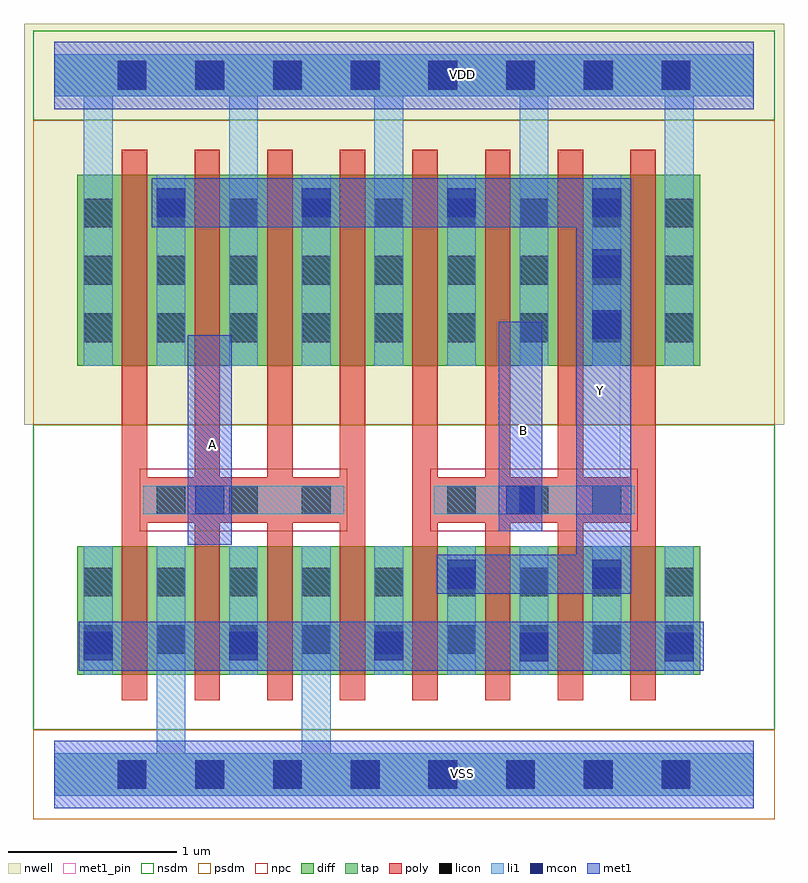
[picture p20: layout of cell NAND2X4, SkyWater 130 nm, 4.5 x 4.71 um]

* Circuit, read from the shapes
.subckt NAND2X4 A B VDD VSS Y
XM1 VSS A n1 VSS sky130_fd_pr__nfet_01v8 w=0.76 l=0.15 m=4
XM2 Y B n1 VSS sky130_fd_pr__nfet_01v8 w=0.76 l=0.15 m=4
XM3 Y A VDD VDD sky130_fd_pr__pfet_01v8 w=1.13 l=0.15 m=4
XM4 Y B VDD VDD sky130_fd_pr__pfet_01v8 w=1.13 l=0.15 m=4
.ends

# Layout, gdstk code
from math import pi, radians
import gdstk
lib = gdstk.Library(unit=1e-6, precision=1e-09)
def R(c, l, rs):  # rectangles x0, y0, x1, y1
    for r in rs: c.add(gdstk.rectangle(r[:2], r[2:], *l))
def A(c, l, x, y, w, h, nx, ny, dx, dy):  # array of equal rectangles
    R(c, l, [(x+i*dx, y+j*dy, x+i*dx+w, y+j*dy+h) for i in range(nx) for j in range(ny)])
nwell = (64, 20)
diff = (65, 20)
tap = (65, 44)
poly = (66, 20)
licon = (66, 44)
li1 = (67, 20)
mcon = (67, 44)
met1_pin = (68, 16)
met1 = (68, 20)
nsdm = (93, 44)
psdm = (94, 20)
npc = (95, 20)

pyl1con_c_cdns_750710154 = lib.new_cell('PYL1CON_C_CDNS_750710154092')
R(pyl1con_c_cdns_750710154, poly, [(-0.135,-0.165,0.135,0.165)])
R(pyl1con_c_cdns_750710154, licon, [(-0.085,-0.085,0.085,0.085)])
R(pyl1con_c_cdns_750710154, npc, [(-0.185,-0.185,0.185,0.185)])

l1m1_c_cdns_750710154090 = lib.new_cell('L1M1_C_CDNS_750710154090')
R(l1m1_c_cdns_750710154090, li1, [(-0.165,-0.085,0.165,0.085)])
R(l1m1_c_cdns_750710154090, mcon, [(-0.085,-0.085,0.085,0.085)])
R(l1m1_c_cdns_750710154090, met1, [(-0.115,-0.145,0.115,0.145)])

l1m1_c_cdns_750710154093 = lib.new_cell('L1M1_C_CDNS_750710154093')
R(l1m1_c_cdns_750710154093, li1, [(-0.085,-0.165,0.085,0.165)])
R(l1m1_c_cdns_750710154093, mcon, [(-0.085,-0.085,0.085,0.085)])
R(l1m1_c_cdns_750710154093, met1, [(-0.145,-0.115,0.145,0.115)])

l1m1_c_cdns_750710154098 = lib.new_cell('L1M1_C_CDNS_750710154098')
R(l1m1_c_cdns_750710154098, li1, [(-0.085,-0.525,0.085,0.525)])
A(l1m1_c_cdns_750710154098, mcon, -0.085, -0.445, 0.17, 0.17, 1, 3, 0, 0.36)
R(l1m1_c_cdns_750710154098, met1, [(-0.115,-0.505,0.115,0.505)])

l1m1_c_cdns_750710154091 = lib.new_cell('L1M1_C_CDNS_750710154091')
R(l1m1_c_cdns_750710154091, li1, [(-0.085,-0.165,0.085,0.165)])
R(l1m1_c_cdns_750710154091, mcon, [(-0.085,-0.085,0.085,0.085)])
R(l1m1_c_cdns_750710154091, met1, [(-0.115,-0.145,0.115,0.145)])

nand2x4 = lib.new_cell('NAND2X4')
R(nand2x4, nwell, [(-0.18,2.07,4.32,4.305), (-0.045,2.24,2.245,3.73), (1.885,2.24,4.005,3.73), (-0.18,3.875,4.32,4.445)])
A(nand2x4, diff, 0.4, 0.59, 0.15, 0.76, 8, 1, 0.43, 0)
A(nand2x4, diff, 0.55, 0.59, 0.28, 0.76, 3, 1, 0.43, 0)
A(nand2x4, diff, 2.27, 0.59, 0.28, 0.76, 3, 1, 0.43, 0)
A(nand2x4, diff, 0.4, 2.42, 0.15, 1.13, 8, 1, 0.43, 0)
A(nand2x4, diff, 0.55, 2.42, 0.28, 1.13, 3, 1, 0.43, 0)
A(nand2x4, diff, 2.27, 2.42, 0.28, 1.13, 3, 1, 0.43, 0)
R(nand2x4, diff, [(0.135,0.59,0.4,1.35), (1.84,0.59,2.065,1.35), (2.065,0.59,2.12,1.35), (3.56,0.59,3.825,1.35), (0.135,2.42,0.4,3.55), (1.84,2.42,2.065,3.55), (2.065,2.42,2.12,3.55), (3.56,2.42,3.825,3.55)])
A(nand2x4, poly, 0.4, 0.44, 0.15, 0.055, 8, 2, 0.43, 1.005)
A(nand2x4, poly, 0.4, 0.495, 0.15, 0.095, 8, 2, 0.43, 0.855)
A(nand2x4, poly, 0.4, 0.59, 0.15, 0.76, 8, 1, 0.43, 0)
A(nand2x4, poly, 0.4, 2.27, 0.15, 0.055, 8, 2, 0.43, 1.375)
A(nand2x4, poly, 0.4, 2.325, 0.15, 0.095, 8, 2, 0.43, 1.225)
A(nand2x4, poly, 0.4, 2.42, 0.15, 1.13, 8, 1, 0.43, 0)
A(nand2x4, licon, 0.375, -0.085, 0.17, 0.17, 8, 2, 0.46, 4.14)
A(nand2x4, licon, 0.175, 0.715, 0.17, 0.17, 9, 2, 0.43, 0.34)
A(nand2x4, licon, 0.175, 2.56, 0.17, 0.17, 9, 3, 0.43, 0.34)
A(nand2x4, li1, 0.175, 0.59, 0.17, 0.76, 9, 1, 0.43, 0)
A(nand2x4, li1, 0.175, 2.42, 0.17, 1.13, 9, 1, 0.43, 0)
A(nand2x4, mcon, 0.375, -0.085, 0.17, 0.17, 8, 2, 0.46, 4.14)
R(nand2x4, met1_pin, [(0.79,1.36,1.05,2.6), (2.63,1.44,2.89,2.68), (3.09,1.68,3.35,2.92)])
R(nand2x4, met1, [(3.09,1.07,3.415,3.53)])
R(nand2x4, nsdm, [(-0.125,0.265,4.265,2.07), (-0.005,0.46,2.075,1.48), (2.055,0.46,3.965,1.48), (-0.125,3.875,4.265,4.405), (-0.125,3.93,4.265,4.35)])
R(nand2x4, psdm, [(-0.125,-0.265,4.265,0.265), (-0.125,-0.21,4.265,0.21), (-0.125,2.07,4.265,3.875), (-0.005,2.29,2.075,3.68), (2.055,2.29,3.965,3.68)])
R(nand2x4, npc, [(0.505,1.44,1.735,1.81), (2.225,1.44,3.455,1.81)])
nand2x4.add(gdstk.FlexPath([(0.475,2.42),(0.475,1.35)], 0.15, ends="flush", simple_path=True, layer=66, datatype=20))  # poly
nand2x4.add(gdstk.FlexPath([(1.335,2.42),(1.335,1.35)], 0.15, ends="flush", simple_path=True, layer=66, datatype=20))  # poly
nand2x4.add(gdstk.FlexPath([(2.195,2.42),(2.195,1.35)], 0.15, ends="flush", simple_path=True, layer=66, datatype=20))  # poly
nand2x4.add(gdstk.FlexPath([(3.055,2.42),(3.055,1.35)], 0.15, ends="flush", simple_path=True, layer=66, datatype=20))  # poly
nand2x4.add(gdstk.FlexPath([(0.905,2.42),(0.905,1.35)], 0.15, ends="flush", simple_path=True, layer=66, datatype=20))  # poly
nand2x4.add(gdstk.FlexPath([(1.765,2.42),(1.765,1.35)], 0.15, ends="flush", simple_path=True, layer=66, datatype=20))  # poly
nand2x4.add(gdstk.FlexPath([(2.625,2.42),(2.625,1.35)], 0.15, ends="flush", simple_path=True, layer=66, datatype=20))  # poly
nand2x4.add(gdstk.FlexPath([(3.485,2.42),(3.485,1.35)], 0.15, ends="flush", simple_path=True, layer=66, datatype=20))  # poly
nand2x4.add(gdstk.FlexPath([(0,4.14),(0.69,4.14)], 0.25, ends=(0, 0.085), simple_path=True, layer=67, datatype=20))  # li1
nand2x4.add(gdstk.FlexPath([(4.055,4.14),(4.14,4.14)], 0.25, ends=(0.085, 0), simple_path=True, layer=67, datatype=20))  # li1
nand2x4.add(gdstk.FlexPath([(2.47,4.14),(3.42,4.14)], 0.25, ends=(0.085, 0.085), simple_path=True, layer=67, datatype=20))  # li1
nand2x4.add(gdstk.FlexPath([(4.055,0),(4.14,0)], 0.25, ends=(0.085, 0), simple_path=True, layer=67, datatype=20))  # li1
nand2x4.add(gdstk.FlexPath([(0.69,0),(2.47,0)], 0.25, ends=(0.085, 0.085), simple_path=True, layer=67, datatype=20))  # li1
nand2x4.add(gdstk.FlexPath([(3.42,0),(4.055,0)], 0.25, ends=(0.085, 0.085), simple_path=True, layer=67, datatype=20))  # li1
nand2x4.add(gdstk.FlexPath([(0,0),(0.69,0)], 0.25, ends=(0, 0.085), simple_path=True, layer=67, datatype=20))  # li1
nand2x4.add(gdstk.FlexPath([(2.47,0),(3.42,0)], 0.25, ends=(0.085, 0.085), simple_path=True, layer=67, datatype=20))  # li1
nand2x4.add(gdstk.FlexPath([(0.525,1.625),(1.715,1.625)], 0.17, ends="flush", simple_path=True, layer=67, datatype=20))  # li1
nand2x4.add(gdstk.FlexPath([(1.55,-0.125),(1.55,0.59)], 0.17, ends="flush", simple_path=True, layer=67, datatype=20))  # li1
nand2x4.add(gdstk.FlexPath([(0.26,3.55),(0.26,4.265)], 0.17, ends="flush", simple_path=True, layer=67, datatype=20))  # li1
nand2x4.add(gdstk.FlexPath([(1.98,3.55),(1.98,4.265)], 0.17, ends="flush", simple_path=True, layer=67, datatype=20))  # li1
nand2x4.add(gdstk.FlexPath([(3.7,3.55),(3.7,4.265)], 0.17, ends="flush", simple_path=True, layer=67, datatype=20))  # li1
nand2x4.add(gdstk.FlexPath([(3.42,4.14),(4.055,4.14)], 0.25, ends=(0.085, 0.085), simple_path=True, layer=67, datatype=20))  # li1
nand2x4.add(gdstk.FlexPath([(2.245,1.625),(3.435,1.625)], 0.17, ends="flush", simple_path=True, layer=67, datatype=20))  # li1
nand2x4.add(gdstk.FlexPath([(0.69,-0.125),(0.69,0.59)], 0.17, ends="flush", simple_path=True, layer=67, datatype=20))  # li1
nand2x4.add(gdstk.FlexPath([(1.12,3.55),(1.12,4.265)], 0.17, ends="flush", simple_path=True, layer=67, datatype=20))  # li1
nand2x4.add(gdstk.FlexPath([(2.84,3.55),(2.84,4.265)], 0.17, ends="flush", simple_path=True, layer=67, datatype=20))  # li1
nand2x4.add(gdstk.FlexPath([(0.69,4.14),(2.47,4.14)], 0.25, ends=(0.085, 0.085), simple_path=True, layer=67, datatype=20))  # li1
nand2x4.add(gdstk.FlexPath([(0,0),(4.14,0)], 0.25, ends="flush", simple_path=True, layer=65, datatype=44))  # tap
nand2x4.add(gdstk.FlexPath([(0,4.14),(4.14,4.14)], 0.25, ends="flush", simple_path=True, layer=65, datatype=44))  # tap
nand2x4.add(gdstk.FlexPath([(3.22,1.07),(3.22,3.53)], 0.26, ends="flush", simple_path=True, layer=68, datatype=20))  # met1
nand2x4.add(gdstk.FlexPath([(2.76,1.44),(2.76,2.68)], 0.26, ends="flush", simple_path=True, layer=68, datatype=20))  # met1
nand2x4.add(gdstk.FlexPath([(0.92,1.36),(0.92,2.6)], 0.26, ends="flush", simple_path=True, layer=68, datatype=20))  # met1
nand2x4.add(gdstk.FlexPath([(0,4.14),(4.14,4.14)], 0.4, ends="flush", simple_path=True, layer=68, datatype=20))  # met1
nand2x4.add(gdstk.FlexPath([(3.845,0.76),(0.145,0.76)], 0.29, ends="flush", simple_path=True, layer=68, datatype=20))  # met1
nand2x4.add(gdstk.FlexPath([(0,0),(4.14,0)], 0.4, ends="flush", simple_path=True, layer=68, datatype=20))  # met1
nand2x4.add(gdstk.FlexPath([(3.415,1.185),(2.265,1.185)], 0.23, ends="flush", simple_path=True, layer=68, datatype=20))  # met1
nand2x4.add(gdstk.FlexPath([(3.385,3.385),(0.575,3.385)], 0.29, ends="flush", simple_path=True, layer=68, datatype=20))  # met1
nand2x4.add(gdstk.FlexPath([(0,4.14),(4.14,4.14)], 0.4, ends="flush", simple_path=True, layer=68, datatype=16))  # met1_pin
nand2x4.add(gdstk.FlexPath([(0,0),(4.14,0)], 0.4, ends="flush", simple_path=True, layer=68, datatype=16))  # met1_pin
nand2x4.add(gdstk.Reference(pyl1con_c_cdns_750710154, (3.27,1.625), rotation=3*pi/2, x_reflection=True))
nand2x4.add(gdstk.Reference(pyl1con_c_cdns_750710154, (2.84,1.625), rotation=3*pi/2, x_reflection=True))
nand2x4.add(gdstk.Reference(pyl1con_c_cdns_750710154, (2.41,1.625), rotation=3*pi/2, x_reflection=True))
nand2x4.add(gdstk.Reference(pyl1con_c_cdns_750710154, (1.55,1.625), rotation=3*pi/2, x_reflection=True))
nand2x4.add(gdstk.Reference(pyl1con_c_cdns_750710154, (1.12,1.625), rotation=3*pi/2, x_reflection=True))
nand2x4.add(gdstk.Reference(pyl1con_c_cdns_750710154, (0.69,1.625), rotation=3*pi/2, x_reflection=True))
nand2x4.add(gdstk.Reference(l1m1_c_cdns_750710154090, (2.76,1.625), x_reflection=True))
nand2x4.add(gdstk.Reference(l1m1_c_cdns_750710154090, (0.92,1.625), x_reflection=True))
nand2x4.add(gdstk.Reference(l1m1_c_cdns_750710154093, (3.7,0.755)))
nand2x4.add(gdstk.Reference(l1m1_c_cdns_750710154093, (2.84,0.755)))
nand2x4.add(gdstk.Reference(l1m1_c_cdns_750710154093, (3.27,1.185)))
nand2x4.add(gdstk.Reference(l1m1_c_cdns_750710154093, (2.41,1.185)))
nand2x4.add(gdstk.Reference(l1m1_c_cdns_750710154098, (3.27,3.025)))
nand2x4.add(gdstk.Reference(l1m1_c_cdns_750710154091, (1.55,3.385)))
nand2x4.add(gdstk.Reference(l1m1_c_cdns_750710154091, (2.41,3.385)))
nand2x4.add(gdstk.Reference(l1m1_c_cdns_750710154091, (0.69,3.385)))
nand2x4.add(gdstk.Reference(l1m1_c_cdns_750710154091, (1.98,0.76)))
nand2x4.add(gdstk.Reference(l1m1_c_cdns_750710154091, (1.12,0.76)))
nand2x4.add(gdstk.Reference(l1m1_c_cdns_750710154091, (0.26,0.76)))
nand2x4.add(gdstk.Label('A', (0.935,1.955), layer=68, texttype=5))
nand2x4.add(gdstk.Label('VDD', (2.415,4.145), layer=68, texttype=5))
nand2x4.add(gdstk.Label('Y', (3.235,2.275), layer=68, texttype=5))
nand2x4.add(gdstk.Label('VSS', (2.415,0.005), layer=68, texttype=5))
nand2x4.add(gdstk.Label('B', (2.775,2.035), layer=68, texttype=5))

lib.write_gds('NAND2X4.gds')
